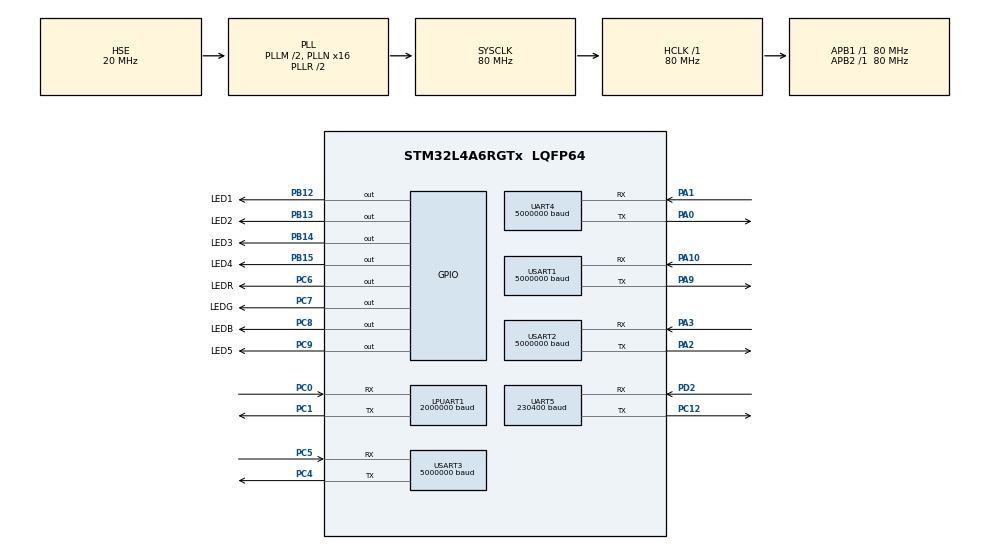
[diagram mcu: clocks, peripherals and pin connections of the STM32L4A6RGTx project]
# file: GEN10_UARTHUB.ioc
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Dma.LPUART_RX.0.Direction=DMA_PERIPH_TO_MEMORY
Dma.LPUART_RX.0.Instance=DMA2_Channel7
Dma.LPUART_RX.0.MemDataAlignment=DMA_MDATAALIGN_BYTE
Dma.LPUART_RX.0.MemInc=DMA_MINC_ENABLE
Dma.LPUART_RX.0.Mode=DMA_CIRCULAR
Dma.LPUART_RX.0.PeriphDataAlignment=DMA_PDATAALIGN_BYTE
Dma.LPUART_RX.0.PeriphInc=DMA_PINC_DISABLE
Dma.LPUART_RX.0.Priority=DMA_PRIORITY_LOW
Dma.Request0=LPUART_RX
Dma.Request1=UART4_RX
Dma.Request2=UART5_RX
Dma.Request3=USART1_RX
Dma.Request4=USART2_RX
Dma.Request5=USART3_RX
Dma.UART4_RX.1.Direction=DMA_PERIPH_TO_MEMORY
Dma.UART4_RX.1.Instance=DMA2_Channel5
Dma.UART4_RX.1.MemDataAlignment=DMA_MDATAALIGN_BYTE
Dma.UART4_RX.1.MemInc=DMA_MINC_ENABLE
Dma.UART4_RX.1.Mode=DMA_CIRCULAR
Dma.UART4_RX.1.PeriphDataAlignment=DMA_PDATAALIGN_BYTE
Dma.UART4_RX.1.PeriphInc=DMA_PINC_DISABLE
Dma.UART4_RX.1.Priority=DMA_PRIORITY_MEDIUM
Dma.UART5_RX.2.Direction=DMA_PERIPH_TO_MEMORY
Dma.UART5_RX.2.Instance=DMA2_Channel2
Dma.UART5_RX.2.MemDataAlignment=DMA_MDATAALIGN_BYTE
Dma.UART5_RX.2.MemInc=DMA_MINC_ENABLE
Dma.UART5_RX.2.Mode=DMA_CIRCULAR
Dma.UART5_RX.2.PeriphDataAlignment=DMA_PDATAALIGN_BYTE
Dma.UART5_RX.2.PeriphInc=DMA_PINC_DISABLE
Dma.UART5_RX.2.Priority=DMA_PRIORITY_VERY_HIGH
Dma.USART1_RX.3.Direction=DMA_PERIPH_TO_MEMORY
Dma.USART1_RX.3.Instance=DMA1_Channel5
Dma.USART1_RX.3.MemDataAlignment=DMA_MDATAALIGN_BYTE
Dma.USART1_RX.3.MemInc=DMA_MINC_ENABLE
Dma.USART1_RX.3.Mode=DMA_CIRCULAR
Dma.USART1_RX.3.PeriphDataAlignment=DMA_PDATAALIGN_BYTE
Dma.USART1_RX.3.PeriphInc=DMA_PINC_DISABLE
Dma.USART1_RX.3.Priority=DMA_PRIORITY_MEDIUM
Dma.USART2_RX.4.Direction=DMA_PERIPH_TO_MEMORY
Dma.USART2_RX.4.Instance=DMA1_Channel6
Dma.USART2_RX.4.MemDataAlignment=DMA_MDATAALIGN_BYTE
Dma.USART2_RX.4.MemInc=DMA_MINC_ENABLE
Dma.USART2_RX.4.Mode=DMA_CIRCULAR
Dma.USART2_RX.4.PeriphDataAlignment=DMA_PDATAALIGN_BYTE
Dma.USART2_RX.4.PeriphInc=DMA_PINC_DISABLE
Dma.USART2_RX.4.Priority=DMA_PRIORITY_MEDIUM
Dma.USART3_RX.5.Direction=DMA_PERIPH_TO_MEMORY
Dma.USART3_RX.5.Instance=DMA1_Channel3
Dma.USART3_RX.5.MemDataAlignment=DMA_MDATAALIGN_BYTE
Dma.USART3_RX.5.MemInc=DMA_MINC_ENABLE
Dma.USART3_RX.5.Mode=DMA_CIRCULAR
Dma.USART3_RX.5.PeriphDataAlignment=DMA_PDATAALIGN_BYTE
Dma.USART3_RX.5.PeriphInc=DMA_PINC_DISABLE
Dma.USART3_RX.5.Priority=DMA_PRIORITY_MEDIUM
FREERTOS.INCLUDE_eTaskGetState=1
FREERTOS.INCLUDE_pcTaskGetTaskName=1
FREERTOS.INCLUDE_vTaskDelayUntil=1
FREERTOS.INCLUDE_xQueueGetMutexHolder=1
FREERTOS.INCLUDE_xSemaphoreGetMutexHolder=1
FREERTOS.INCLUDE_xTaskAbortDelay=1
FREERTOS.INCLUDE_xTaskGetCurrentTaskHandle=1
FREERTOS.INCLUDE_xTaskGetHandle=1
FREERTOS.Tasks01=defaultTask,0,512,StartDefaultTask,Default,NULL,Dynamic,NULL,NULL
FREERTOS.configGENERATE_RUN_TIME_STATS=1
FREERTOS.configMINIMAL_STACK_SIZE=512
FREERTOS.configQUEUE_REGISTRY_SIZE=16
FREERTOS.configRECORD_STACK_HIGH_ADDRESS=1
FREERTOS.configTIMER_QUEUE_LENGTH=16
FREERTOS.configTIMER_TASK_PRIORITY=5
FREERTOS.configTIMER_TASK_STACK_DEPTH=2048
FREERTOS.configTOTAL_HEAP_SIZE=131072
FREERTOS.configUSE_STATS_FORMATTING_FUNCTIONS=1
FREERTOS.configUSE_TIMERS=0
FREERTOS.configUSE_TRACE_FACILITY=1
LPUART1.BaudRate=2000000
LPUART1.WordLength=UART_WORDLENGTH_8B
Mcu.Family=STM32L4
Mcu.Name=STM32L4A6RGTx
Mcu.Package=LQFP64
NVIC.DMA1_Channel3_IRQn=true\:5\:0\:false\:false\:true\:true\:false\:true
NVIC.DMA1_Channel5_IRQn=true\:5\:0\:false\:false\:true\:true\:false\:true
NVIC.DMA1_Channel6_IRQn=true\:5\:0\:false\:false\:true\:true\:false\:true
NVIC.DMA2_Channel2_IRQn=true\:5\:0\:false\:false\:true\:true\:false\:true
NVIC.DMA2_Channel5_IRQn=true\:5\:0\:false\:false\:true\:true\:false\:true
NVIC.DMA2_Channel7_IRQn=true\:5\:0\:false\:false\:true\:true\:false\:true
NVIC.LPUART1_IRQn=true\:5\:0\:false\:false\:true\:true\:true\:true
NVIC.PriorityGroup=NVIC_PRIORITYGROUP_4
NVIC.TIM6_DAC_IRQn=true\:0\:0\:false\:false\:true\:false\:false\:true
NVIC.TimeBase=TIM6_DAC_IRQn
NVIC.TimeBaseIP=TIM6
NVIC.UART4_IRQn=true\:5\:0\:false\:false\:true\:true\:true\:true
NVIC.UART5_IRQn=true\:5\:0\:false\:false\:true\:true\:true\:true
NVIC.USART1_IRQn=true\:5\:0\:false\:false\:true\:true\:true\:true
NVIC.USART2_IRQn=true\:5\:0\:false\:false\:true\:true\:true\:true
NVIC.USART3_IRQn=true\:5\:0\:false\:false\:true\:true\:true\:true
PA0.Mode=Asynchronous
PA0.Signal=UART4_TX
PA1.Mode=Asynchronous
PA1.Signal=UART4_RX
PA10.Mode=Asynchronous
PA10.Signal=USART1_RX
PA13\ (JTMS/SWDIO).Mode=Serial_Wire
PA13\ (JTMS/SWDIO).Signal=SYS_JTMS-SWDIO
PA14\ (JTCK/SWCLK).Mode=Serial_Wire
PA14\ (JTCK/SWCLK).Signal=SYS_JTCK-SWCLK
PA2.Mode=Asynchronous
PA2.Signal=USART2_TX
PA3.Mode=Asynchronous
PA3.Signal=USART2_RX
PA9.Mode=Asynchronous
PA9.Signal=USART1_TX
PB12.GPIO_Label=LED1
PB12.Signal=GPIO_Output
PB13.GPIO_Label=LED2
PB13.Signal=GPIO_Output
PB14.GPIO_Label=LED3
PB14.Signal=GPIO_Output
PB15.GPIO_Label=LED4
PB15.Signal=GPIO_Output
PC0.Mode=Asynchronous
PC0.Signal=LPUART1_RX
PC1.Mode=Asynchronous
PC1.Signal=LPUART1_TX
PC12.Mode=Asynchronous
PC12.Signal=UART5_TX
PC4.Mode=Asynchronous
PC4.Signal=USART3_TX
PC5.Mode=Asynchronous
PC5.Signal=USART3_RX
PC6.GPIO_Label=LEDR
PC6.Signal=GPIO_Output
PC7.GPIO_Label=LEDG
PC7.Signal=GPIO_Output
PC8.GPIO_Label=LEDB
PC8.Signal=GPIO_Output
PC9.GPIO_Label=LED5
PC9.Signal=GPIO_Output
PD2.Mode=Asynchronous
PD2.Signal=UART5_RX
PH0-OSC_IN\ (PH0).Mode=HSE-External-Clock-Source
PH0-OSC_IN\ (PH0).Signal=RCC_OSC_IN
ProjectManager.HeapSize=0x200
ProjectManager.StackSize=0x400
ProjectManager.TargetToolchain=STM32CubeIDE
RCC.ADCFreq_Value=40000000
RCC.AHBFreq_Value=80000000
RCC.APB1Freq_Value=80000000
RCC.APB1TimFreq_Value=80000000
RCC.APB2Freq_Value=80000000
RCC.APB2TimFreq_Value=80000000
RCC.CortexFreq_Value=80000000
RCC.DATA_CACHE_ENABLE=1
RCC.HCLKFreq_Value=80000000
RCC.HSE_VALUE=20000000
RCC.HSI48_VALUE=48000000
RCC.HSI_VALUE=16000000
RCC.INSTRUCTION_CACHE_ENABLE=1
RCC.LSE_VALUE=32768
RCC.MSI_VALUE=4000000
RCC.PLLM=2
RCC.PLLN=16
RCC.PLLSourceVirtual=RCC_PLLSOURCE_HSE
RCC.SYSCLKFreq_VALUE=80000000
RCC.SYSCLKSource=RCC_SYSCLKSOURCE_PLLCLK
RCC.USBFreq_Value=40000000
RCC.VCOOutputFreq_Value=160000000
UART4.BaudRate=5000000
UART5.BaudRate=230400
USART1.BaudRate=5000000
USART1.VirtualMode-Asynchronous=VM_ASYNC
USART2.BaudRate=5000000
USART2.VirtualMode-Asynchronous=VM_ASYNC
USART3.BaudRate=5000000
USART3.VirtualMode-Asynchronous=VM_ASYNC
VP_FREERTOS_VS_CMSIS_V1.Mode=CMSIS_V1
VP_SYS_VS_tim6.Mode=TIM6
board=custom

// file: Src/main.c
/* USER CODE BEGIN Header */
/**
  ******************************************************************************
  * @file           : main.c
  * @brief          : Main program body
  ******************************************************************************
  * @attention
  *
  * <h2><center>&copy; Copyright (c) 2019 STMicroelectronics.
  * All rights reserved.</center></h2>
  *
  * This software component is licensed by ST under BSD 3-Clause license,
  * the "License"; You may not use this file except in compliance with the
  * License. You may obtain a copy of the License at:
  *                        opensource.org/licenses/BSD-3-Clause
  *
  ******************************************************************************
  */
/* USER CODE END Header */

#include "main.h"
#include "cmsis_os.h"

/* USER CODE BEGIN Includes */
#include "uart.h"
/* USER CODE END Includes */

UART_HandleTypeDef hlpuart1;
UART_HandleTypeDef huart4;
UART_HandleTypeDef huart5;
UART_HandleTypeDef huart1;
UART_HandleTypeDef huart2;
UART_HandleTypeDef huart3;
DMA_HandleTypeDef hdma_lpuart_rx;
DMA_HandleTypeDef hdma_uart4_rx;
DMA_HandleTypeDef hdma_uart5_rx;
DMA_HandleTypeDef hdma_usart1_rx;
DMA_HandleTypeDef hdma_usart2_rx;
DMA_HandleTypeDef hdma_usart3_rx;

osThreadId defaultTaskHandle;
/* USER CODE BEGIN PV */
B_uartHandle_t buarts[6];
UART_HandleTypeDef* huarts[6] = {&huart1, &huart2, &huart3, &huart4, &huart5, &hlpuart1};
/* USER CODE END PV */

void SystemClock_Config(void);
static void MX_GPIO_Init(void);
static void MX_DMA_Init(void);
static void MX_LPUART1_UART_Init(void);
static void MX_UART4_Init(void);
static void MX_UART5_Init(void);
static void MX_USART1_UART_Init(void);
static void MX_USART2_UART_Init(void);
static void MX_USART3_UART_Init(void);
void StartDefaultTask(void const * argument);

/* USER CODE BEGIN PFP */
void uartRxParser(void* pv);
/* USER CODE END PFP */

int main(void)
{

  /* MCU Configuration--------------------------------------------------------*/

  /* Reset of all peripherals, Initializes the Flash interface and the Systick. */
  HAL_Init();

  /* Configure the system clock */
  SystemClock_Config();

  /* Initialize all configured peripherals */
  MX_GPIO_Init();
  MX_DMA_Init();
  MX_LPUART1_UART_Init();
  MX_UART4_Init();
  MX_UART5_Init();
  MX_USART1_UART_Init();
  MX_USART2_UART_Init();
  MX_USART3_UART_Init();

  /* USER CODE BEGIN RTOS_QUEUES */
  /* add queues, ... */
#ifdef ENABLE_CUBEMX_DEFAULT_TASK
  /* USER CODE END RTOS_QUEUES */

  /* Create the thread(s) */
  /* definition and creation of defaultTask */
  osThreadDef(defaultTask, StartDefaultTask, osPriorityNormal, 0, 512);
  defaultTaskHandle = osThreadCreate(osThread(defaultTask), NULL);

  /* USER CODE BEGIN RTOS_THREADS */
#endif
  /* add threads, ... */
  xTaskCreate(uartRxParser, "UartRxParser1", 1024, (void*)0, 4, NULL);
  xTaskCreate(uartRxParser, "UartRxParser2", 1024, (void*)1, 4, NULL);
  xTaskCreate(uartRxParser, "UartRxParser3", 1024, (void*)2, 4, NULL);
  xTaskCreate(uartRxParser, "UartRxParser4", 1024, (void*)3, 4, NULL);
  xTaskCreate(uartRxParser, "UartRxParser5", 1024, (void*)4, 4, NULL);
  xTaskCreate(uartRxParser, "UartRxParserLP", 1024, (void*)5, 4, NULL);
  /* USER CODE END RTOS_THREADS */

  /* Start scheduler */
  osKernelStart();

  /* We should never get here as control is now taken by the scheduler */

  /* Infinite loop */
  while (1)
  {

  }
}

void SystemClock_Config(void)
{
  RCC_OscInitTypeDef RCC_OscInitStruct = {0};
  RCC_ClkInitTypeDef RCC_ClkInitStruct = {0};
  RCC_PeriphCLKInitTypeDef PeriphClkInit = {0};

  /** Initializes the CPU, AHB and APB busses clocks
  */
  RCC_OscInitStruct.OscillatorType = RCC_OSCILLATORTYPE_HSE;
  RCC_OscInitStruct.HSEState = RCC_HSE_BYPASS;
  RCC_OscInitStruct.PLL.PLLState = RCC_PLL_ON;
  RCC_OscInitStruct.PLL.PLLSource = RCC_PLLSOURCE_HSE;
  RCC_OscInitStruct.PLL.PLLM = 2;
  RCC_OscInitStruct.PLL.PLLN = 16;
  RCC_OscInitStruct.PLL.PLLP = RCC_PLLP_DIV2;
  RCC_OscInitStruct.PLL.PLLQ = RCC_PLLQ_DIV2;
  RCC_OscInitStruct.PLL.PLLR = RCC_PLLR_DIV2;
  if (HAL_RCC_OscConfig(&RCC_OscInitStruct) != HAL_OK)
  {
    Error_Handler();
  }
  /** Initializes the CPU, AHB and APB busses clocks
  */
  RCC_ClkInitStruct.ClockType = RCC_CLOCKTYPE_HCLK|RCC_CLOCKTYPE_SYSCLK
                              |RCC_CLOCKTYPE_PCLK1|RCC_CLOCKTYPE_PCLK2;
  RCC_ClkInitStruct.SYSCLKSource = RCC_SYSCLKSOURCE_PLLCLK;
  RCC_ClkInitStruct.AHBCLKDivider = RCC_SYSCLK_DIV1;
  RCC_ClkInitStruct.APB1CLKDivider = RCC_HCLK_DIV1;
  RCC_ClkInitStruct.APB2CLKDivider = RCC_HCLK_DIV1;

  if (HAL_RCC_ClockConfig(&RCC_ClkInitStruct, FLASH_LATENCY_4) != HAL_OK)
  {
    Error_Handler();
  }
  PeriphClkInit.PeriphClockSelection = RCC_PERIPHCLK_USART1|RCC_PERIPHCLK_USART2
                              |RCC_PERIPHCLK_USART3|RCC_PERIPHCLK_UART4
                              |RCC_PERIPHCLK_UART5|RCC_PERIPHCLK_LPUART1;
  PeriphClkInit.Usart1ClockSelection = RCC_USART1CLKSOURCE_PCLK2;
  PeriphClkInit.Usart2ClockSelection = RCC_USART2CLKSOURCE_PCLK1;
  PeriphClkInit.Usart3ClockSelection = RCC_USART3CLKSOURCE_PCLK1;
  PeriphClkInit.Uart4ClockSelection = RCC_UART4CLKSOURCE_PCLK1;
  PeriphClkInit.Uart5ClockSelection = RCC_UART5CLKSOURCE_PCLK1;
  PeriphClkInit.Lpuart1ClockSelection = RCC_LPUART1CLKSOURCE_PCLK1;
  if (HAL_RCCEx_PeriphCLKConfig(&PeriphClkInit) != HAL_OK)
  {
    Error_Handler();
  }
  /** Configure the main internal regulator output voltage
  */
  if (HAL_PWREx_ControlVoltageScaling(PWR_REGULATOR_VOLTAGE_SCALE1) != HAL_OK)
  {
    Error_Handler();
  }
}

static void MX_LPUART1_UART_Init(void)
{

  hlpuart1.Instance = LPUART1;
  hlpuart1.Init.BaudRate = 2000000;
  hlpuart1.Init.WordLength = UART_WORDLENGTH_8B;
  hlpuart1.Init.StopBits = UART_STOPBITS_1;
  hlpuart1.Init.Parity = UART_PARITY_NONE;
  hlpuart1.Init.Mode = UART_MODE_TX_RX;
  hlpuart1.Init.HwFlowCtl = UART_HWCONTROL_NONE;
  hlpuart1.Init.OneBitSampling = UART_ONE_BIT_SAMPLE_DISABLE;
  hlpuart1.AdvancedInit.AdvFeatureInit = UART_ADVFEATURE_NO_INIT;
  if (HAL_UART_Init(&hlpuart1) != HAL_OK)
  {
    Error_Handler();
  }

}

static void MX_UART4_Init(void)
{

  huart4.Instance = UART4;
  huart4.Init.BaudRate = 5000000;
  huart4.Init.WordLength = UART_WORDLENGTH_8B;
  huart4.Init.StopBits = UART_STOPBITS_1;
  huart4.Init.Parity = UART_PARITY_NONE;
  huart4.Init.Mode = UART_MODE_TX_RX;
  huart4.Init.HwFlowCtl = UART_HWCONTROL_NONE;
  huart4.Init.OverSampling = UART_OVERSAMPLING_16;
  huart4.Init.OneBitSampling = UART_ONE_BIT_SAMPLE_DISABLE;
  huart4.AdvancedInit.AdvFeatureInit = UART_ADVFEATURE_NO_INIT;
  if (HAL_UART_Init(&huart4) != HAL_OK)
  {
    Error_Handler();
  }

}

static void MX_UART5_Init(void)
{

  huart5.Instance = UART5;
  huart5.Init.BaudRate = 230400;
  huart5.Init.WordLength = UART_WORDLENGTH_8B;
  huart5.Init.StopBits = UART_STOPBITS_1;
  huart5.Init.Parity = UART_PARITY_NONE;
  huart5.Init.Mode = UART_MODE_TX_RX;
  huart5.Init.HwFlowCtl = UART_HWCONTROL_NONE;
  huart5.Init.OverSampling = UART_OVERSAMPLING_16;
  huart5.Init.OneBitSampling = UART_ONE_BIT_SAMPLE_DISABLE;
  huart5.AdvancedInit.AdvFeatureInit = UART_ADVFEATURE_NO_INIT;
  if (HAL_UART_Init(&huart5) != HAL_OK)
  {
    Error_Handler();
  }

}

static void MX_USART1_UART_Init(void)
{

  huart1.Instance = USART1;
  huart1.Init.BaudRate = 5000000;
  huart1.Init.WordLength = UART_WORDLENGTH_8B;
  huart1.Init.StopBits = UART_STOPBITS_1;
  huart1.Init.Parity = UART_PARITY_NONE;
  huart1.Init.Mode = UART_MODE_TX_RX;
  huart1.Init.HwFlowCtl = UART_HWCONTROL_NONE;
  huart1.Init.OverSampling = UART_OVERSAMPLING_16;
  huart1.Init.OneBitSampling = UART_ONE_BIT_SAMPLE_DISABLE;
  huart1.AdvancedInit.AdvFeatureInit = UART_ADVFEATURE_NO_INIT;
  if (HAL_UART_Init(&huart1) != HAL_OK)
  {
    Error_Handler();
  }

}

static void MX_USART2_UART_Init(void)
{

  huart2.Instance = USART2;
  huart2.Init.BaudRate = 5000000;
  huart2.Init.WordLength = UART_WORDLENGTH_8B;
  huart2.Init.StopBits = UART_STOPBITS_1;
  huart2.Init.Parity = UART_PARITY_NONE;
  huart2.Init.Mode = UART_MODE_TX_RX;
  huart2.Init.HwFlowCtl = UART_HWCONTROL_NONE;
  huart2.Init.OverSampling = UART_OVERSAMPLING_16;
  huart2.Init.OneBitSampling = UART_ONE_BIT_SAMPLE_DISABLE;
  huart2.AdvancedInit.AdvFeatureInit = UART_ADVFEATURE_NO_INIT;
  if (HAL_UART_Init(&huart2) != HAL_OK)
  {
    Error_Handler();
  }

}

static void MX_USART3_UART_Init(void)
{

  huart3.Instance = USART3;
  huart3.Init.BaudRate = 5000000;
  huart3.Init.WordLength = UART_WORDLENGTH_8B;
  huart3.Init.StopBits = UART_STOPBITS_1;
  huart3.Init.Parity = UART_PARITY_NONE;
  huart3.Init.Mode = UART_MODE_TX_RX;
  huart3.Init.HwFlowCtl = UART_HWCONTROL_NONE;
  huart3.Init.OverSampling = UART_OVERSAMPLING_16;
  huart3.Init.OneBitSampling = UART_ONE_BIT_SAMPLE_DISABLE;
  huart3.AdvancedInit.AdvFeatureInit = UART_ADVFEATURE_NO_INIT;
  if (HAL_UART_Init(&huart3) != HAL_OK)
  {
    Error_Handler();
  }

}

static void MX_DMA_Init(void)
{

  /* DMA controller clock enable */
  __HAL_RCC_DMA2_CLK_ENABLE();
  __HAL_RCC_DMA1_CLK_ENABLE();

  /* DMA interrupt init */
  /* DMA1_Channel3_IRQn interrupt configuration */
  HAL_NVIC_SetPriority(DMA1_Channel3_IRQn, 5, 0);
  HAL_NVIC_EnableIRQ(DMA1_Channel3_IRQn);
  /* DMA1_Channel5_IRQn interrupt configuration */
  HAL_NVIC_SetPriority(DMA1_Channel5_IRQn, 5, 0);
  HAL_NVIC_EnableIRQ(DMA1_Channel5_IRQn);
  /* DMA1_Channel6_IRQn interrupt configuration */
  HAL_NVIC_SetPriority(DMA1_Channel6_IRQn, 5, 0);
  HAL_NVIC_EnableIRQ(DMA1_Channel6_IRQn);
  /* DMA2_Channel2_IRQn interrupt configuration */
  HAL_NVIC_SetPriority(DMA2_Channel2_IRQn, 5, 0);
  HAL_NVIC_EnableIRQ(DMA2_Channel2_IRQn);
  /* DMA2_Channel5_IRQn interrupt configuration */
  HAL_NVIC_SetPriority(DMA2_Channel5_IRQn, 5, 0);
  HAL_NVIC_EnableIRQ(DMA2_Channel5_IRQn);
  /* DMA2_Channel7_IRQn interrupt configuration */
  HAL_NVIC_SetPriority(DMA2_Channel7_IRQn, 5, 0);
  HAL_NVIC_EnableIRQ(DMA2_Channel7_IRQn);

}

static void MX_GPIO_Init(void)
{
  GPIO_InitTypeDef GPIO_InitStruct = {0};

  /* GPIO Ports Clock Enable */
  __HAL_RCC_GPIOH_CLK_ENABLE();
  __HAL_RCC_GPIOC_CLK_ENABLE();
  __HAL_RCC_GPIOA_CLK_ENABLE();
  __HAL_RCC_GPIOB_CLK_ENABLE();
  __HAL_RCC_GPIOD_CLK_ENABLE();

  /*Configure GPIO pin Output Level */
  HAL_GPIO_WritePin(GPIOB, LED1_Pin|LED2_Pin|LED3_Pin|LED4_Pin, GPIO_PIN_RESET);

  /*Configure GPIO pin Output Level */
  HAL_GPIO_WritePin(GPIOC, LEDR_Pin|LEDG_Pin|LEDB_Pin|LED5_Pin, GPIO_PIN_RESET);

  /*Configure GPIO pins : LED1_Pin LED2_Pin LED3_Pin LED4_Pin */
  GPIO_InitStruct.Pin = LED1_Pin|LED2_Pin|LED3_Pin|LED4_Pin;
  GPIO_InitStruct.Mode = GPIO_MODE_OUTPUT_PP;
  GPIO_InitStruct.Pull = GPIO_NOPULL;
  GPIO_InitStruct.Speed = GPIO_SPEED_FREQ_LOW;
  HAL_GPIO_Init(GPIOB, &GPIO_InitStruct);

  /*Configure GPIO pins : LEDR_Pin LEDG_Pin LEDB_Pin LED5_Pin */
  GPIO_InitStruct.Pin = LEDR_Pin|LEDG_Pin|LEDB_Pin|LED5_Pin;
  GPIO_InitStruct.Mode = GPIO_MODE_OUTPUT_PP;
  GPIO_InitStruct.Pull = GPIO_NOPULL;
  GPIO_InitStruct.Speed = GPIO_SPEED_FREQ_LOW;
  HAL_GPIO_Init(GPIOC, &GPIO_InitStruct);

}

/* USER CODE BEGIN 4 */
void uartRxParser(void* pv){
	int port = (int)pv;
	uint8_t buf[2048];
	B_uartStart(&buarts[port], huarts[port]);
	for(;;){
		size_t len = B_uartRead(&buarts[port], buf);
		for(size_t i = 0; i < 6; i++){
			if(i == port) continue;
			B_uartWrite(&buarts[i], buf, len);
		}
	}
}
/* USER CODE END 4 */

void StartDefaultTask(void const * argument)
{

  for(;;)
  {
    osDelay(1);
  }
}

void HAL_TIM_PeriodElapsedCallback(TIM_HandleTypeDef *htim)
{
  if (htim->Instance == TIM6) {
    HAL_IncTick();
  }
}

void Error_Handler(void)
{
}

/************************ (C) COPYRIGHT STMicroelectronics *****END OF FILE****/
